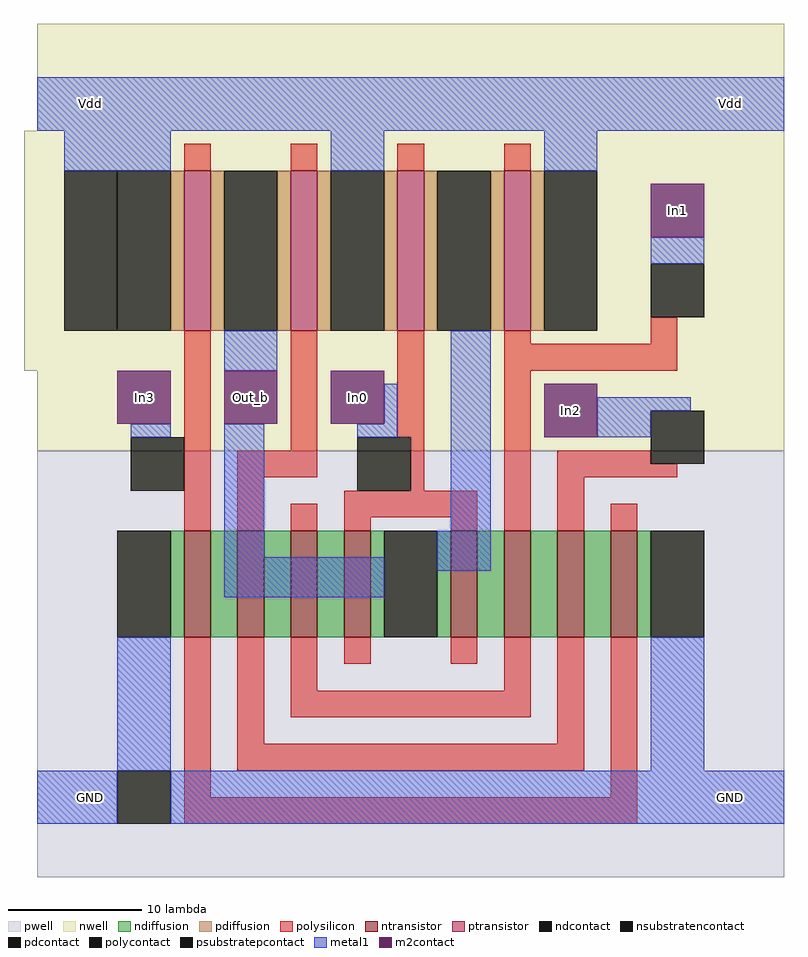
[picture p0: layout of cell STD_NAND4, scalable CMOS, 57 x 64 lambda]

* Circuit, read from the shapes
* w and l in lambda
.subckt STD_NAND4 GND In0 In1 In2 In3 Out_b Vdd
M1 n1 In3 GND GND nfet w=8 l=2
M2 n2 In2 n1 GND nfet w=8 l=2
M3 n3 In1 n2 GND nfet w=8 l=2
M4 Out_b In0 n3 GND nfet w=8 l=2
M5 n4 In0 Out_b GND nfet w=8 l=2
M6 n5 In1 n4 GND nfet w=8 l=2
M7 n6 In2 n5 GND nfet w=8 l=2
M8 GND In3 n6 GND nfet w=8 l=2
M9 Out_b In3 Vdd Vdd pfet w=12 l=2
M10 Vdd In2 Out_b Vdd pfet w=12 l=2
M11 Out_b In0 Vdd Vdd pfet w=12 l=2
M12 Vdd In1 Out_b Vdd pfet w=12 l=2
.ends

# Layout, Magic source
magic
tech scmos
<< pwell >>
rect 0 0 56 32
<< nwell >>
rect 0 56 56 64
rect -1 38 56 56
rect 0 32 56 38
<< polysilicon >>
rect 11 53 13 55
rect 19 53 21 55
rect 27 53 29 55
rect 35 53 37 55
rect 11 26 13 41
rect 19 32 21 41
rect 27 33 29 41
rect 15 30 21 32
rect 15 26 17 30
rect 28 29 29 33
rect 35 40 37 41
rect 46 40 48 42
rect 35 38 48 40
rect 19 26 21 28
rect 23 27 33 29
rect 23 26 25 27
rect 31 26 33 27
rect 35 26 37 38
rect 39 31 46 32
rect 39 30 48 31
rect 39 26 41 30
rect 43 26 45 28
rect 11 6 13 18
rect 15 10 17 18
rect 19 14 21 18
rect 23 16 25 18
rect 31 16 33 18
rect 35 14 37 18
rect 19 12 37 14
rect 39 10 41 18
rect 15 8 41 10
rect 43 6 45 18
rect 11 4 45 6
<< ndiffusion >>
rect 10 18 11 26
rect 13 18 15 26
rect 17 18 19 26
rect 21 18 23 26
rect 25 18 26 26
rect 30 18 31 26
rect 33 18 35 26
rect 37 18 39 26
rect 41 18 43 26
rect 45 18 46 26
<< pdiffusion >>
rect 10 41 11 53
rect 13 41 14 53
rect 18 41 19 53
rect 21 41 22 53
rect 26 41 27 53
rect 29 41 30 53
rect 34 41 35 53
rect 37 41 38 53
<< metal1 >>
rect 0 56 56 60
rect 2 53 10 56
rect 22 53 26 56
rect 38 53 42 56
rect 46 46 50 48
rect 14 38 18 41
rect 7 33 10 34
rect 26 34 27 37
rect 14 24 17 34
rect 24 33 27 34
rect 31 26 34 41
rect 42 35 49 36
rect 42 33 46 35
rect 14 21 26 24
rect 30 23 34 26
rect 6 8 10 18
rect 46 8 50 18
rect 0 4 6 8
rect 10 4 56 8
<< ntransistor >>
rect 11 18 13 26
rect 15 18 17 26
rect 19 18 21 26
rect 23 18 25 26
rect 31 18 33 26
rect 35 18 37 26
rect 39 18 41 26
rect 43 18 45 26
<< ptransistor >>
rect 11 41 13 53
rect 19 41 21 53
rect 27 41 29 53
rect 35 41 37 53
<< polycontact >>
rect 46 42 50 46
rect 7 29 11 33
rect 24 29 28 33
rect 46 31 50 35
<< ndcontact >>
rect 6 18 10 26
rect 26 18 30 26
rect 46 18 50 26
<< pdcontact >>
rect 6 41 10 53
rect 14 41 18 53
rect 22 41 26 53
rect 30 41 34 53
rect 38 41 42 53
<< m2contact >>
rect 46 48 50 52
rect 6 34 10 38
rect 14 34 18 38
rect 22 34 26 38
rect 38 33 42 37
<< psubstratepcontact >>
rect 6 4 10 8
<< nsubstratencontact >>
rect 2 41 6 53
<< labels >>
rlabel m2contact 16 36 16 36 6 Out_b
rlabel m2contact 24 36 24 36 6 In0
rlabel m2contact 40 35 40 35 6 In2
rlabel m2contact 8 36 8 36 6 In3
rlabel metal1 4 6 4 6 6 GND
rlabel metal1 52 6 52 6 6 GND
rlabel metal1 52 58 52 58 6 Vdd
rlabel metal1 4 58 4 58 6 Vdd
rlabel m2contact 48 50 48 50 6 In1
<< end >>
